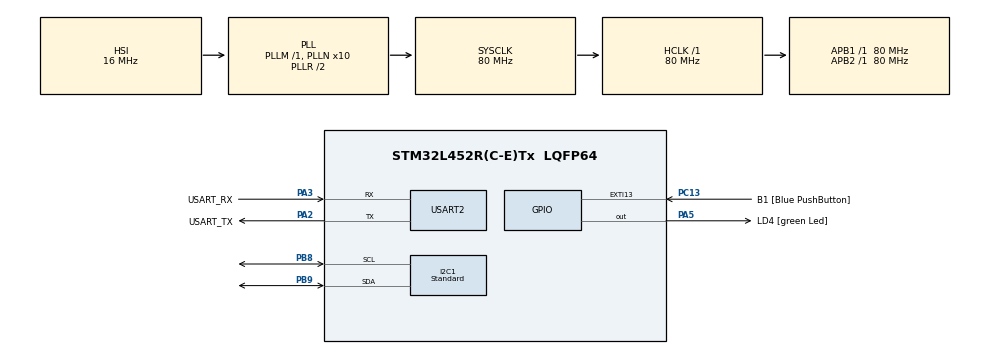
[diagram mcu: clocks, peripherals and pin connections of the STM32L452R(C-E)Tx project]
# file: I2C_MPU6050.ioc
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I2C1.I2C_Speed_Mode=I2C_Standard
I2C1.Speed=100
I2C1.Timing=0x10909CEC
Mcu.Family=STM32L4
Mcu.Name=STM32L452R(C-E)Tx
Mcu.Package=LQFP64
NVIC.PriorityGroup=NVIC_PRIORITYGROUP_4
PA13\ (JTMS/SWDIO).GPIO_Label=TMS
PA13\ (JTMS/SWDIO).Mode=Serial_Wire
PA13\ (JTMS/SWDIO).Signal=SYS_JTMS-SWDIO
PA14\ (JTCK/SWCLK).GPIO_Label=TCK
PA14\ (JTCK/SWCLK).Mode=Serial_Wire
PA14\ (JTCK/SWCLK).Signal=SYS_JTCK-SWCLK
PA2.GPIO_Label=USART_TX
PA2.GPIO_Mode=GPIO_MODE_AF_PP
PA2.GPIO_PuPd=GPIO_NOPULL
PA2.GPIO_Speed=GPIO_SPEED_FREQ_VERY_HIGH
PA2.Mode=Asynchronous
PA2.Signal=USART2_TX
PA3.GPIO_Label=USART_RX
PA3.GPIO_Mode=GPIO_MODE_AF_PP
PA3.GPIO_PuPd=GPIO_NOPULL
PA3.GPIO_Speed=GPIO_SPEED_FREQ_VERY_HIGH
PA3.Mode=Asynchronous
PA3.Signal=USART2_RX
PA5.GPIO_Label=LD4 [green Led]
PA5.GPIO_ModeDefaultOutputPP=GPIO_MODE_OUTPUT_PP
PA5.GPIO_PuPd=GPIO_NOPULL
PA5.GPIO_Speed=GPIO_SPEED_FREQ_LOW
PA5.Signal=GPIO_Output
PB3\ (JTDO/TRACESWO).GPIO_Label=SWO
PB3\ (JTDO/TRACESWO).Signal=SYS_JTDO-SWO
PB8.Mode=I2C
PB8.Signal=I2C1_SCL
PB9.Mode=I2C
PB9.Signal=I2C1_SDA
PC13.GPIO_Label=B1 [Blue PushButton]
PC13.GPIO_ModeDefaultEXTI=GPIO_MODE_IT_FALLING
PC13.GPIO_PuPd=GPIO_NOPULL
PC13.Signal=GPXTI13
PC14-OSC32_IN\ (PC14).Mode=LSE-External-Oscillator
PC14-OSC32_IN\ (PC14).Signal=RCC_OSC32_IN
PC15-OSC32_OUT\ (PC15).Mode=LSE-External-Oscillator
PC15-OSC32_OUT\ (PC15).Signal=RCC_OSC32_OUT
PH0-OSC_IN\ (PH0).Signal=RCC_OSC_IN
PH1-OSC_OUT\ (PH1).Signal=RCC_OSC_OUT
ProjectManager.HeapSize=0x200
ProjectManager.StackSize=0x400
ProjectManager.TargetToolchain=STM32CubeIDE
RCC.ADCFreq_Value=64000000
RCC.AHBFreq_Value=80000000
RCC.APB1Freq_Value=80000000
RCC.APB1TimFreq_Value=80000000
RCC.APB2Freq_Value=80000000
RCC.APB2TimFreq_Value=80000000
RCC.CortexFreq_Value=80000000
RCC.HCLKFreq_Value=80000000
RCC.HSE_VALUE=8000000
RCC.HSI48_VALUE=48000000
RCC.HSI_VALUE=16000000
RCC.MSI_VALUE=4000000
RCC.PLLN=10
RCC.PLLSourceVirtual=RCC_PLLSOURCE_HSI
RCC.PREFETCH_ENABLE=1
RCC.SYSCLKFreq_VALUE=80000000
RCC.SYSCLKSource=RCC_SYSCLKSOURCE_PLLCLK
RCC.USBFreq_Value=64000000
RCC.VCOOutputFreq_Value=160000000
USART2.VirtualMode-Asynchronous=VM_ASYNC
board=NUCLEO-L452RE

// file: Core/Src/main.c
/* USER CODE BEGIN Header */
/**
  ******************************************************************************
  * @file           : main.c
  * @brief          : Main program body
  ******************************************************************************
  * @attention
  *
  * Copyright (c) 2023 STMicroelectronics.
  * All rights reserved.
  *
  * This software is licensed under terms that can be found in the LICENSE file
  * in the root directory of this software component.
  * If no LICENSE file comes with this software, it is provided AS-IS.
  *
  ******************************************************************************
  */
/* USER CODE END Header */
#include "main.h"
#include "i2c.h"
#include "usart.h"
#include "gpio.h"

/* USER CODE BEGIN Includes */

#define SLAVE_ADDR 0xd0 //

#define ADDRESS_SMPLRT_DIV 0x19
#define ADDRESS_GYRO_CONFIG 0x1B
#define ADDRESS_ACCEL_CONFIG 0x1C
#define ADDRESS_PWR_MGMT_1 0x6B

#define ADDRESS_ACCEL_XOUT_H 0x3B  //ACCEL_XOUT[15:8]
#define ADDRESS_ACCEL_XOUT_L 0x3C  //ACCEL_XOUT[7:0]
#define ADDRESS_ACCEL_YOUT_H 0x3D  //ACCEL_YOUT[15:8]
#define ADDRESS_ACCEL_YOUT_L 0x3E  //ACCEL_YOUT[7:0]
#define ADDRESS_ACCEL_ZOUT_H 0x3F  //ACCEL_ZOUT[15:8]
#define ADDRESS_ACCEL_ZOUT_L 0x40  //ACCEL_ZOUT[7:0]

#define ADDRESS_GYRO_XOUT_H 0x43  //GYRO_XOUT[15:8]
#define ADDRESS_GYRO_XOUT_L 0x44  //GYRO_XOUT[7:0]
#define ADDRESS_GYRO_YOUT_H 0x45  //GYRO_YOUT[15:8]
#define ADDRESS_GYRO_YOUT_L 0x46  //GYRO_YOUT[7:0]
#define ADDRESS_GYRO_ZOUT_H 0x47  //GYRO_ZOUT[15:8]
#define ADDRESS_GYRO_ZOUT_L 0x48  //GYRO_ZOUT[7:0]

/* USER CODE END Includes */

/* USER CODE BEGIN PV */
uint8_t READ_DATA[12] = {0};
float gyro_x = 0;
float gyro_y = 0;
float gyro_z = 0;
float acc_x = 0;
float acc_y = 0;
float acc_z = 0;
uint8_t check = 0;
uint8_t stat = 0;
uint8_t stat2 = 0;
uint8_t stat3 = 0;
uint8_t stat4 = 0;
/* USER CODE END PV */

void SystemClock_Config(void);

/* USER CODE BEGIN 0 */

void BOOT_SET(I2C_HandleTypeDef* hi2c)
{

	HAL_GPIO_WritePin(GPIOA, GPIO_PIN_5, GPIO_PIN_SET); // BOOT 10msec
	HAL_Delay(10);
	HAL_GPIO_WritePin(GPIOA, GPIO_PIN_5, GPIO_PIN_RESET);

	uint8_t data;

	HAL_I2C_Init(&hi2c1);

	HAL_I2C_Mem_Read (&hi2c1, SLAVE_ADDR,0x75,1, &check, 1, 1000); //check slave addr
	data = 0x00;
	HAL_I2C_Mem_Write(&hi2c1, SLAVE_ADDR, ADDRESS_PWR_MGMT_1, 1, &data, 1, 1000); // sleep(0x40) -> wake(0x00)
	data = 0x07;
	HAL_I2C_Mem_Write(&hi2c1, SLAVE_ADDR, ADDRESS_SMPLRT_DIV, 1, &data, 1, 1000); // sample rate 7
	data = 0x00;
	HAL_I2C_Mem_Write(&hi2c1, SLAVE_ADDR, ADDRESS_GYRO_CONFIG, 1, &data, 1, 1000); // gyro scale 510 deg/s (0x00)
	data = 0x00;
	HAL_I2C_Mem_Write(&hi2c1, SLAVE_ADDR, ADDRESS_ACCEL_CONFIG, 1, &data, 1, 1000); // acc scale 2g (0x00)

	HAL_Delay(2000);
}
void read_acc(void)
{
	HAL_I2C_Mem_Read(&hi2c1, SLAVE_ADDR, 0x3B, 1, &READ_DATA[0], 1, 1000); // acc x (15:8)
	HAL_I2C_Mem_Read(&hi2c1, SLAVE_ADDR, 0x3C, 1, &READ_DATA[1], 1, 1000); // acc x (7:0)
	HAL_I2C_Mem_Read(&hi2c1, SLAVE_ADDR, 0x3D, 1, &READ_DATA[2], 1, 1000); // acc y (15:8)
	HAL_I2C_Mem_Read(&hi2c1, SLAVE_ADDR, 0x3E, 1, &READ_DATA[3], 1, 1000); // acc y (7:0)
	HAL_I2C_Mem_Read(&hi2c1, SLAVE_ADDR, 0x3F, 1, &READ_DATA[4], 1, 1000); // acc z (15:8)
	HAL_I2C_Mem_Read(&hi2c1, SLAVE_ADDR, 0x40, 1, &READ_DATA[5], 1, 1000); // acc z (7:0)
	acc_x = (int16_t)(READ_DATA[0] << 8 | READ_DATA[1]) / 16384.0;
	acc_y = (int16_t)(READ_DATA[2] << 8 | READ_DATA[3]) / 16384.0;
	acc_z = (int16_t)(READ_DATA[4] << 8 | READ_DATA[5]) / 16384.0;
}
void read_gyro(void)
{
	HAL_I2C_Mem_Read(&hi2c1, SLAVE_ADDR, 0x43, 1, &READ_DATA[6], 1, 1000); // gyro x (15:8)
	HAL_I2C_Mem_Read(&hi2c1, SLAVE_ADDR, 0x44, 1, &READ_DATA[7], 1, 1000); // gyro x (7:0)
	HAL_I2C_Mem_Read(&hi2c1, SLAVE_ADDR, 0x45, 1, &READ_DATA[8], 1, 1000); // gyro y (15:8)
	HAL_I2C_Mem_Read(&hi2c1, SLAVE_ADDR, 0x46, 1, &READ_DATA[9], 1, 1000); // gyro y (7:0)
	HAL_I2C_Mem_Read(&hi2c1, SLAVE_ADDR, 0x47, 1, &READ_DATA[10], 1, 1000); // gyro z (15:8)
	HAL_I2C_Mem_Read(&hi2c1, SLAVE_ADDR, 0x48, 1, &READ_DATA[11], 1, 1000); // gyro z (7:0)
	gyro_x = (READ_DATA[6] << 8 | READ_DATA[7]) / 131.0;
	gyro_y = (READ_DATA[8] << 8 | READ_DATA[9]) / 131.0;
	gyro_z = (READ_DATA[10] << 8 | READ_DATA[11]) / 131.0;
}
/* USER CODE END 0 */

int main(void)
{

  /* MCU Configuration--------------------------------------------------------*/

  /* Reset of all peripherals, Initializes the Flash interface and the Systick. */
  HAL_Init();

  /* Configure the system clock */
  SystemClock_Config();

  /* Initialize all configured peripherals */
  MX_GPIO_Init();
  MX_USART2_UART_Init();
  MX_I2C1_Init();
  /* USER CODE BEGIN 2 */
  //HAL_I2C_MspInit(&hi2c1);
  BOOT_SET(&hi2c1);

  /* USER CODE END 2 */

  /* Infinite loop */
  while (1)
  {

    /* USER CODE BEGIN 3 */
	  HAL_I2C_Mem_Read (&hi2c1, SLAVE_ADDR,0x75,1, &check, 1, 1000); //check slave addr
	  HAL_I2C_Mem_Read (&hi2c1, SLAVE_ADDR,0X6B,1, &stat, 1, 1000);
	  read_acc();
	  read_gyro();
  }
  /* USER CODE END 3 */
}

void SystemClock_Config(void)
{
  RCC_OscInitTypeDef RCC_OscInitStruct = {0};
  RCC_ClkInitTypeDef RCC_ClkInitStruct = {0};

  /** Configure the main internal regulator output voltage
  */
  if (HAL_PWREx_ControlVoltageScaling(PWR_REGULATOR_VOLTAGE_SCALE1) != HAL_OK)
  {
    Error_Handler();
  }

  /** Initializes the RCC Oscillators according to the specified parameters
  * in the RCC_OscInitTypeDef structure.
  */
  RCC_OscInitStruct.OscillatorType = RCC_OSCILLATORTYPE_HSI;
  RCC_OscInitStruct.HSIState = RCC_HSI_ON;
  RCC_OscInitStruct.HSICalibrationValue = RCC_HSICALIBRATION_DEFAULT;
  RCC_OscInitStruct.PLL.PLLState = RCC_PLL_ON;
  RCC_OscInitStruct.PLL.PLLSource = RCC_PLLSOURCE_HSI;
  RCC_OscInitStruct.PLL.PLLM = 1;
  RCC_OscInitStruct.PLL.PLLN = 10;
  RCC_OscInitStruct.PLL.PLLP = RCC_PLLP_DIV7;
  RCC_OscInitStruct.PLL.PLLQ = RCC_PLLQ_DIV2;
  RCC_OscInitStruct.PLL.PLLR = RCC_PLLR_DIV2;
  if (HAL_RCC_OscConfig(&RCC_OscInitStruct) != HAL_OK)
  {
    Error_Handler();
  }

  /** Initializes the CPU, AHB and APB buses clocks
  */
  RCC_ClkInitStruct.ClockType = RCC_CLOCKTYPE_HCLK|RCC_CLOCKTYPE_SYSCLK
                              |RCC_CLOCKTYPE_PCLK1|RCC_CLOCKTYPE_PCLK2;
  RCC_ClkInitStruct.SYSCLKSource = RCC_SYSCLKSOURCE_PLLCLK;
  RCC_ClkInitStruct.AHBCLKDivider = RCC_SYSCLK_DIV1;
  RCC_ClkInitStruct.APB1CLKDivider = RCC_HCLK_DIV1;
  RCC_ClkInitStruct.APB2CLKDivider = RCC_HCLK_DIV1;

  if (HAL_RCC_ClockConfig(&RCC_ClkInitStruct, FLASH_LATENCY_4) != HAL_OK)
  {
    Error_Handler();
  }
}

void Error_Handler(void)
{
  __disable_irq();
  while (1)
  {
  }
}
